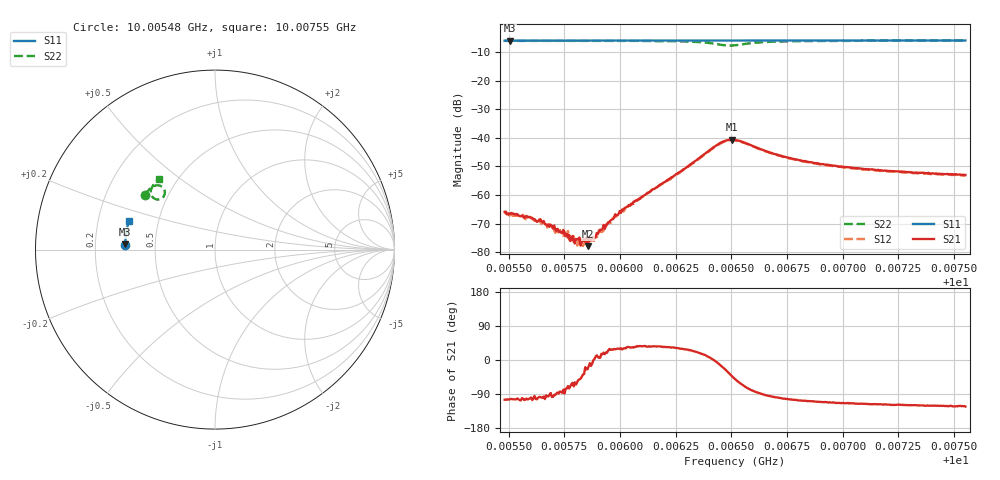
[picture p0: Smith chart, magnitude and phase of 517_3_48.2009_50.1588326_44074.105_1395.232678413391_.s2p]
#  HZ  S  RI  R  50.00
! Rohde & Schwarz Vector Network Analyzer
! Rohde-Schwarz,ZNB20-2Port,1311601062101988,3.16
! Created: UTC 3/20/2024, 11:59:13 AM
! freq[Hz]  re:S11  im:S11  re:S21  im:S21  re:S12  im:S12  re:S22  im:S22
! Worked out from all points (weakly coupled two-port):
!   401 points, 10.00548 GHz to 10.00755 GHz, reference 50 ohm
!   highest |S21| = -40.61 dB at 10.0065 GHz (marker M1); lowest = -77.9 dB at 10.00585 GHz (marker M2)
!   lowest |S11| = -6.0 dB at 10.00551 GHz (marker M3), VSWR 3.01, Z = 16.6 + j1.32 ohm
!   |S11| at or under -10 dB: nowhere
!   |S22| runs from -7.7 to -6.0 dB; largest |S21 - S12| = 0.00058
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1.0005482e10  -0.5004 0.0279  -0.000128 -0.000493  -0.000101 -0.000488  -0.3913 0.3053
1.0005508e10  -0.5002 0.0296  -0.000105 -0.000455  -9.85e-05 -0.000434  -0.3903 0.3068
1.0005601e10  -0.5001 0.0359  -6.24e-05 -0.0004  -4.8e-05 -0.000388  -0.3863 0.3124
1.0005648e10  -0.5001 0.0387  -5.52e-05 -0.000345  -3.67e-05 -0.000309  -0.3841 0.3151
1.0005751e10  -0.4997 0.0455  5.06e-06 -0.000214  2.84e-05 -0.000227  -0.3791 0.3214
1.0005788e10  -0.4995 0.0479  9.58e-05 -0.000168  7.47e-05 -0.000163  -0.3772 0.3238
1.0005808e10  -0.4993 0.0492  8.91e-05 -0.000143  9.01e-05 -9.54e-05  -0.3761 0.3252
1.0005829e10  -0.4994 0.0507  0.00012 -0.000116  9.72e-05 -9.74e-05  -0.375 0.3262
1.0005839e10  -0.4992 0.0512  0.000135 -0.000102  0.000116 -7.78e-05  -0.3743 0.327
1.0005855e10  -0.4993 0.0523  0.000116 -5.25e-05  0.000141 -4.11e-05  -0.3735 0.3279
1.0005886e10  -0.499 0.0543  0.000183 8.25e-06  0.000181 1.52e-05  -0.3716 0.33
1.0005953e10  -0.4988 0.0585  0.000297 0.000167  0.000299 0.000152  -0.3676 0.3344
1.000602e10  -0.4982 0.063  0.000506 0.000307  0.000447 0.000308  -0.3628 0.3388
1.0006175e10  -0.4971 0.073  0.0012 0.000858  0.00111 0.000915  -0.3485 0.3499
1.0006439e10  -0.4942 0.0899  0.00761 -0.00104  0.00748 -0.000609  -0.2811 0.3304
1.0006501e10  -0.4936 0.0933  0.00698 -0.00618  0.00716 -0.00568  -0.2957 0.2863
1.0006517e10  -0.4935 0.0942  0.00589 -0.00707  0.00617 -0.00661  -0.3069 0.2807
1.00066e10  -0.4932 0.0994  0.001 -0.00706  0.00132 -0.00694  -0.3502 0.2954
1.0006718e10  -0.4921 0.1071  -0.000869 -0.00484  -0.00064 -0.00479  -0.3578 0.3265
1.0006863e10  -0.4902 0.1164  -0.0012 -0.00351  -0.00102 -0.00352  -0.3513 0.3466
1.000721e10  -0.4853 0.1382  -0.00123 -0.00234  -0.0011 -0.00235  -0.3327 0.3728
1.0007551e10  -0.4796 0.1596  -0.00121 -0.00189  -0.0011 -0.00191  -0.3146 0.3908
